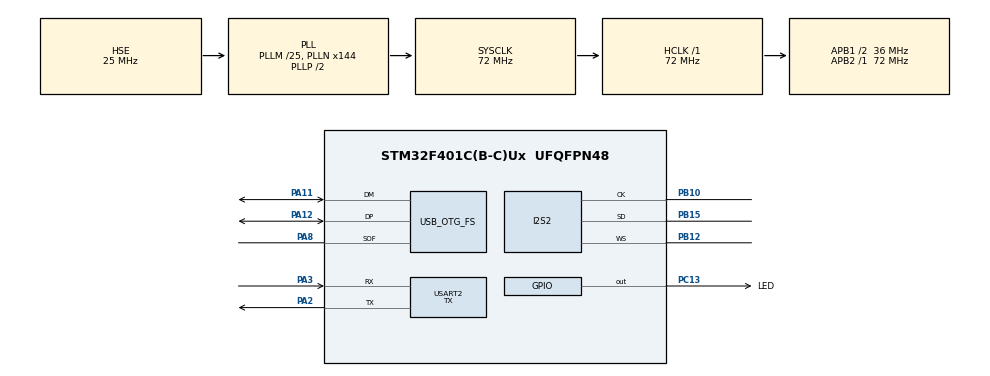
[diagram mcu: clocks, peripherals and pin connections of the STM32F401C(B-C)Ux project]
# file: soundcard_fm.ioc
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Dma.Request0=SPI2_TX
Dma.SPI2_TX.0.Direction=DMA_MEMORY_TO_PERIPH
Dma.SPI2_TX.0.FIFOMode=DMA_FIFOMODE_DISABLE
Dma.SPI2_TX.0.Instance=DMA1_Stream4
Dma.SPI2_TX.0.MemDataAlignment=DMA_MDATAALIGN_HALFWORD
Dma.SPI2_TX.0.MemInc=DMA_MINC_ENABLE
Dma.SPI2_TX.0.Mode=DMA_CIRCULAR
Dma.SPI2_TX.0.PeriphDataAlignment=DMA_PDATAALIGN_HALFWORD
Dma.SPI2_TX.0.PeriphInc=DMA_PINC_DISABLE
Dma.SPI2_TX.0.Priority=DMA_PRIORITY_LOW
I2S2.AudioFreq=AudioFreqCustomValue
I2S2.AudioFreqCustom=122791
I2S2.CPOL=I2S_CPOL_LOW
I2S2.DataFormat=I2S_DATAFORMAT_16B
I2S2.ErrorAudioFreq=0.62 %
I2S2.FullDuplexMode=I2S_FULLDUPLEXMODE_DISABLE
I2S2.Instance=SPI$Index
I2S2.Mode=I2S_MODE_MASTER_TX
I2S2.RealAudioFreq=122.767 KHz
I2S2.Standard=I2S_STANDARD_MSB
I2S2.VirtualMode=I2S_MODE_MASTER
Mcu.Family=STM32F4
Mcu.Name=STM32F401C(B-C)Ux
Mcu.Package=UFQFPN48
NVIC.DMA1_Stream4_IRQn=true\:0\:0\:false\:false\:true\:false\:true\:true
NVIC.OTG_FS_IRQn=true\:0\:0\:false\:false\:true\:false\:true\:true
NVIC.PriorityGroup=NVIC_PRIORITYGROUP_4
PA11.Mode=Device_Only
PA11.Signal=USB_OTG_FS_DM
PA12.Mode=Device_Only
PA12.Signal=USB_OTG_FS_DP
PA2.Mode=Asynchronous
PA2.Signal=USART2_TX
PA3.Mode=Asynchronous
PA3.Signal=USART2_RX
PA8.Mode=Activate_SOF_FS
PA8.Signal=USB_OTG_FS_SOF
PB10.Mode=Half_Duplex_Master
PB10.Signal=I2S2_CK
PB12.Mode=Half_Duplex_Master
PB12.Signal=I2S2_WS
PB15.Mode=Half_Duplex_Master
PB15.Signal=I2S2_SD
PC13-ANTI_TAMP.GPIO_Label=LED
PC13-ANTI_TAMP.Signal=GPIO_Output
PH0\ -\ OSC_IN.Mode=HSE-External-Oscillator
PH0\ -\ OSC_IN.Signal=RCC_OSC_IN
PH1\ -\ OSC_OUT.Mode=HSE-External-Oscillator
PH1\ -\ OSC_OUT.Signal=RCC_OSC_OUT
ProjectManager.HeapSize=0x200
ProjectManager.StackSize=0x400
ProjectManager.TargetToolchain=CMake
RCC.48MHZClocksFreq_Value=48000000
RCC.AHBFreq_Value=72000000
RCC.APB1CLKDivider=RCC_HCLK_DIV2
RCC.APB1Freq_Value=36000000
RCC.APB1TimFreq_Value=72000000
RCC.APB2Freq_Value=72000000
RCC.APB2TimFreq_Value=72000000
RCC.CortexFreq_Value=72000000
RCC.HCLKFreq_Value=72000000
RCC.HSE_VALUE=25000000
RCC.HSI_VALUE=16000000
RCC.LSE_VALUE=32768
RCC.PLLI2SN=385
RCC.PLLI2SR=7
RCC.PLLM=25
RCC.PLLN=144
RCC.PLLQ=3
RCC.SYSCLKFreq_VALUE=72000000
RCC.SYSCLKSource=RCC_SYSCLKSOURCE_PLLCLK
RCC.VCOOutputFreq_Value=144000000
USART2.Mode=MODE_TX
USART2.VirtualMode=VM_ASYNC
USB_DEVICE.CLASS_NAME_FS=AUDIO
USB_DEVICE.MANUFACTURER_STRING=Domin
USB_DEVICE.PID_AUDIO_FS=22337
USB_DEVICE.PRODUCT_STRING_AUDIO_FS=BekasFM
USB_DEVICE.USBD_AUDIO_FREQ=48000
USB_DEVICE.VID=1155
USB_DEVICE.VirtualMode=Audio
USB_DEVICE.VirtualModeFS=Audio_FS
USB_OTG_FS.VirtualMode=Device_Only
VP_USB_DEVICE_VS_USB_DEVICE_AUDIO_FS.Mode=AUDIO_FS
board=custom

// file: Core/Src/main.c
/* USER CODE BEGIN Header */
/**
  ******************************************************************************
  * @file           : main.c
  * @brief          : Main program body
  ******************************************************************************
  * @attention
  *
  * Copyright (c) 2026 STMicroelectronics.
  * All rights reserved.
  *
  * This software is licensed under terms that can be found in the LICENSE file
  * in the root directory of this software component.
  * If no LICENSE file comes with this software, it is provided AS-IS.
  *
  ******************************************************************************
  */
/* USER CODE END Header */
#include "main.h"
#include "usb_device.h"

/* USER CODE BEGIN Includes */
#include <math.h>
#include <stdio.h>
#include "buf_param.h"
/* USER CODE END Includes */

I2S_HandleTypeDef hi2s2;
DMA_HandleTypeDef hdma_spi2_tx;

UART_HandleTypeDef huart2;

/* USER CODE BEGIN PV */

volatile float phase = 0.0f;
volatile uint8_t buffer_ready = 0;
/* USER CODE END PV */

void SystemClock_Config(void);
static void MX_GPIO_Init(void);
static void MX_DMA_Init(void);
static void MX_I2S2_Init(void);
static void MX_USART2_UART_Init(void);
/* USER CODE BEGIN PFP */
int __io_putchar(int ch) { // funkcja dla printf
	HAL_UART_Transmit(&huart2, (uint8_t *)&ch, 1, 0xFFFF);
	return ch;
}

void start_playing() {
    is_playing = 1;
    HAL_I2S_Transmit_DMA(&hi2s2, (uint16_t *)audio_buffer, BUFFER_SIZE);
}

/* USER CODE END PFP */

/* USER CODE BEGIN 0 */

void HAL_I2S_TxHalfCpltCallback(I2S_HandleTypeDef *hi2s) {
  buffer_ready = 1;
}

void HAL_I2S_TxCpltCallback(I2S_HandleTypeDef *hi2s) {
  buffer_ready = 2;
}

/* USER CODE END 0 */

int main(void)
{

  /* MCU Configuration--------------------------------------------------------*/

  /* Reset of all peripherals, Initializes the Flash interface and the Systick. */
  HAL_Init();

  /* Configure the system clock */
  SystemClock_Config();

  /* Initialize all configured peripherals */
  MX_GPIO_Init();
  MX_DMA_Init();
  MX_I2S2_Init();
  MX_USB_DEVICE_Init();
  MX_USART2_UART_Init();

  /* Infinite loop */
  /* USER CODE BEGIN WHILE */
  printf("Hi! \n");
  while (1)
  {
    /* USER CODE END WHILE */

  }
}

void SystemClock_Config(void)
{
  RCC_OscInitTypeDef RCC_OscInitStruct = {0};
  RCC_ClkInitTypeDef RCC_ClkInitStruct = {0};

  /** Configure the main internal regulator output voltage
  */
  __HAL_RCC_PWR_CLK_ENABLE();
  __HAL_PWR_VOLTAGESCALING_CONFIG(PWR_REGULATOR_VOLTAGE_SCALE2);

  /** Initializes the RCC Oscillators according to the specified parameters
  * in the RCC_OscInitTypeDef structure.
  */
  RCC_OscInitStruct.OscillatorType = RCC_OSCILLATORTYPE_HSE;
  RCC_OscInitStruct.HSEState = RCC_HSE_ON;
  RCC_OscInitStruct.PLL.PLLState = RCC_PLL_ON;
  RCC_OscInitStruct.PLL.PLLSource = RCC_PLLSOURCE_HSE;
  RCC_OscInitStruct.PLL.PLLM = 25;
  RCC_OscInitStruct.PLL.PLLN = 144;
  RCC_OscInitStruct.PLL.PLLP = RCC_PLLP_DIV2;
  RCC_OscInitStruct.PLL.PLLQ = 3;
  if (HAL_RCC_OscConfig(&RCC_OscInitStruct) != HAL_OK)
  {
    Error_Handler();
  }

  /** Initializes the CPU, AHB and APB buses clocks
  */
  RCC_ClkInitStruct.ClockType = RCC_CLOCKTYPE_HCLK|RCC_CLOCKTYPE_SYSCLK
                              |RCC_CLOCKTYPE_PCLK1|RCC_CLOCKTYPE_PCLK2;
  RCC_ClkInitStruct.SYSCLKSource = RCC_SYSCLKSOURCE_PLLCLK;
  RCC_ClkInitStruct.AHBCLKDivider = RCC_SYSCLK_DIV1;
  RCC_ClkInitStruct.APB1CLKDivider = RCC_HCLK_DIV2;
  RCC_ClkInitStruct.APB2CLKDivider = RCC_HCLK_DIV1;

  if (HAL_RCC_ClockConfig(&RCC_ClkInitStruct, FLASH_LATENCY_2) != HAL_OK)
  {
    Error_Handler();
  }
}

static void MX_I2S2_Init(void)
{

  hi2s2.Instance = SPI2;
  hi2s2.Init.Mode = I2S_MODE_MASTER_TX;
  hi2s2.Init.Standard = I2S_STANDARD_MSB;
  hi2s2.Init.DataFormat = I2S_DATAFORMAT_16B;
  hi2s2.Init.MCLKOutput = I2S_MCLKOUTPUT_DISABLE;
  hi2s2.Init.AudioFreq = 122791;
  hi2s2.Init.CPOL = I2S_CPOL_LOW;
  hi2s2.Init.ClockSource = I2S_CLOCK_PLL;
  hi2s2.Init.FullDuplexMode = I2S_FULLDUPLEXMODE_DISABLE;
  if (HAL_I2S_Init(&hi2s2) != HAL_OK)
  {
    Error_Handler();
  }

}

static void MX_USART2_UART_Init(void)
{

  huart2.Instance = USART2;
  huart2.Init.BaudRate = 115200;
  huart2.Init.WordLength = UART_WORDLENGTH_8B;
  huart2.Init.StopBits = UART_STOPBITS_1;
  huart2.Init.Parity = UART_PARITY_NONE;
  huart2.Init.Mode = UART_MODE_TX;
  huart2.Init.HwFlowCtl = UART_HWCONTROL_NONE;
  huart2.Init.OverSampling = UART_OVERSAMPLING_16;
  if (HAL_UART_Init(&huart2) != HAL_OK)
  {
    Error_Handler();
  }

}

static void MX_DMA_Init(void)
{

  /* DMA controller clock enable */
  __HAL_RCC_DMA1_CLK_ENABLE();

  /* DMA interrupt init */
  /* DMA1_Stream4_IRQn interrupt configuration */
  HAL_NVIC_SetPriority(DMA1_Stream4_IRQn, 0, 0);
  HAL_NVIC_EnableIRQ(DMA1_Stream4_IRQn);

}

static void MX_GPIO_Init(void)
{
  GPIO_InitTypeDef GPIO_InitStruct = {0};

  /* GPIO Ports Clock Enable */
  __HAL_RCC_GPIOC_CLK_ENABLE();
  __HAL_RCC_GPIOH_CLK_ENABLE();
  __HAL_RCC_GPIOA_CLK_ENABLE();
  __HAL_RCC_GPIOB_CLK_ENABLE();

  /*Configure GPIO pin Output Level */
  HAL_GPIO_WritePin(LED_GPIO_Port, LED_Pin, GPIO_PIN_RESET);

  /*Configure GPIO pin : LED_Pin */
  GPIO_InitStruct.Pin = LED_Pin;
  GPIO_InitStruct.Mode = GPIO_MODE_OUTPUT_PP;
  GPIO_InitStruct.Pull = GPIO_NOPULL;
  GPIO_InitStruct.Speed = GPIO_SPEED_FREQ_LOW;
  HAL_GPIO_Init(LED_GPIO_Port, &GPIO_InitStruct);

}

void Error_Handler(void)
{
  __disable_irq();
  while (1)
  {
  }
}
